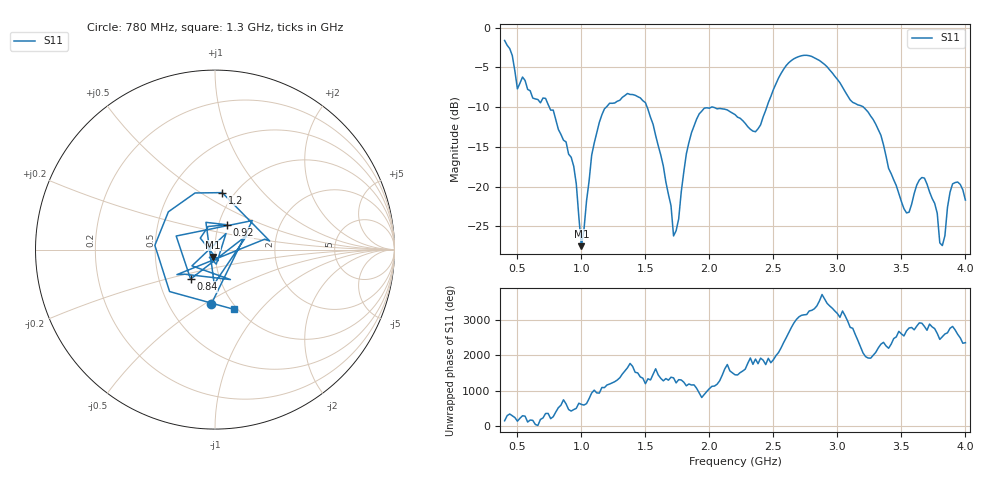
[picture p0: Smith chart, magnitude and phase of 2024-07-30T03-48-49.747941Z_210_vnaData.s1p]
!Created with skrf (http://scikit-rf.org).
# Hz S RI R 50.0
!freq ReS11 ImS11
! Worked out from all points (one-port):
!   181 points, 400 MHz to 4 GHz, reference 50 ohm
!   lowest |S11| = -27.5 dB at 1 GHz (marker M1), VSWR 1.09, Z = 48.7 - j3.94 ohm
!   |S11| at or under -10 dB: 749.5 MHz to 1.194 GHz (444.2 MHz wide, 45.7 % of centre); 1.514 GHz to 2.016 GHz (502.1 MHz wide, 28.5 % of centre); 3.204 GHz to end of sweep (the widest 3 of 4)
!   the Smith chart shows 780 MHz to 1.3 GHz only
!   S11 on the Smith chart (normalised r, x): 780 MHz: 0.80, -0.53; 840 MHz: 0.72, -0.25; 920 MHz: 1.09, +0.31; 1.2 GHz: 0.88, +0.62; 1.3 GHz: 0.96, -0.73
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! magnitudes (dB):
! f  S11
! 400 MHz  -1.6
! 500 MHz  -7.7
! 780 MHz  -10.4
! 840 MHz  -13.4
! 860 MHz  -14.2
! 920 MHz  -16.3
! 960 MHz  -19.7
! 1 GHz  -27.5
! 1.08 GHz  -16.1
! 1.2 GHz  -9.9
! 1.3 GHz  -9.1
! 1.5 GHz  -9.4
! 1.64 GHz  -17.4
! 1.72 GHz  -26.2
! 1.76 GHz  -24.1
! 1.82 GHz  -15.9
! 1.92 GHz  -10.9
! 2.2 GHz  -10.9
! 2.36 GHz  -13.1
! 2.66 GHz  -3.9
! 2.86 GHz  -4.1
! 3.1 GHz  -9.1
! 3.3 GHz  -12.2
! 3.56 GHz  -23.2
! 3.68 GHz  -18.9
! 3.82 GHz  -27.4
! 3.9 GHz  -19.7
! 4 GHz  -21.7
